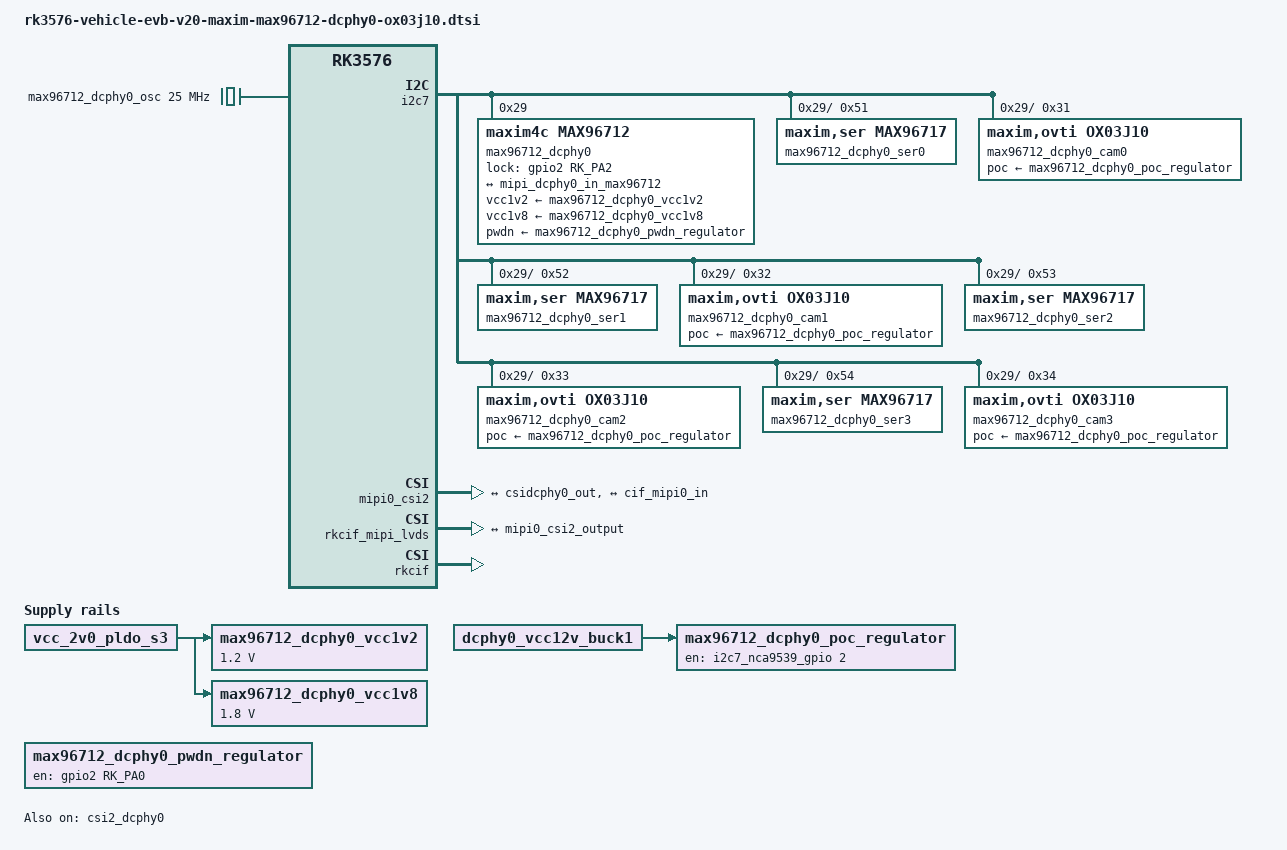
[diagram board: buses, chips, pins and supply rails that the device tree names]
// SPDX-License-Identifier: (GPL-2.0+ OR MIT)
/*
 * Copyright (c) 2025 Rockchip Electronics Co., Ltd.
 *
 */
#include <dt-bindings/display/media-bus-format.h>

/ {
	max96712_dcphy0_osc: max96712-dcphy0-oscillator {
		compatible = "fixed-clock";
		#clock-cells = <1>;
		clock-frequency = <25000000>;
		clock-output-names = "max96712-dcphy0-osc";
	};

	max96712_dcphy0_vcc1v2: max96712-dcphy0-vcc1v2 {
		compatible = "regulator-fixed";
		regulator-name = "max96712_dcphy0_vcc1v2";
		regulator-boot-on;
		regulator-always-on;
		regulator-min-microvolt = <1200000>;
		regulator-max-microvolt = <1200000>;
		startup-delay-us = <850>;
		vin-supply = <&vcc_2v0_pldo_s3>;
	};

	max96712_dcphy0_vcc1v8: max96712-dcphy0-vcc1v8 {
		compatible = "regulator-fixed";
		regulator-name = "max96712_dcphy0_vcc1v8";
		regulator-boot-on;
		regulator-always-on;
		regulator-min-microvolt = <1800000>;
		regulator-max-microvolt = <1800000>;
		startup-delay-us = <200>;
		vin-supply = <&vcc_2v0_pldo_s3>;
	};

	max96712_dcphy0_pwdn_regulator: max96712-dcphy0-pwdn-regulator {
		compatible = "regulator-fixed";
		regulator-name = "max96712_dcphy0_pwdn";
		gpio = <&gpio2 RK_PA0 GPIO_ACTIVE_HIGH>;
		pinctrl-names = "default";
		pinctrl-0 = <&max96712_dcphy0_pwdn>;
		enable-active-high;
		startup-delay-us = <10000>;
		off-on-delay-us = <5000>;
	};

	max96712_dcphy0_poc_regulator: max96712-dcphy0-poc-regulator {
		compatible = "regulator-fixed";
		regulator-name = "max96712_dcphy0_poc";
		gpio = <&i2c7_nca9539_gpio 2 GPIO_ACTIVE_HIGH>;
		enable-active-high;
		startup-delay-us = <10000>;
		off-on-delay-us = <5000>;
		vin-supply = <&dcphy0_vcc12v_buck1>;
	};
};

&csi2_dcphy0 {
	status = "okay";

	ports {
		#address-cells = <1>;
		#size-cells = <0>;
		port@0 {
			reg = <0>;
			#address-cells = <1>;
			#size-cells = <0>;

			mipi_dcphy0_in_max96712: endpoint@1 {
				reg = <1>;
				remote-endpoint = <&max96712_dcphy0_out>;
				data-lanes = <1 2 3 4>;
			};
		};
		port@1 {
			reg = <1>;
			#address-cells = <1>;
			#size-cells = <0>;

			csidcphy0_out: endpoint@0 {
				reg = <0>;
				remote-endpoint = <&mipi0_csi2_input>;
			};
		};
	};
};

&i2c7 {
	max96712_dcphy0: max96712@29 {
		compatible = "maxim4c,max96712";
		status = "okay";
		reg = <0x29>;
		clock-names = "xvclk";
		clocks = <&max96712_dcphy0_osc 0>;
		pinctrl-names = "default";
		pinctrl-0 = <&max96712_dcphy0_errb>, <&max96712_dcphy0_lock>;
		power-domains = <&power RK3576_PD_VI>;
		rockchip,grf = <&sys_grf>;
		vcc1v2-supply = <&max96712_dcphy0_vcc1v2>;
		vcc1v8-supply = <&max96712_dcphy0_vcc1v8>;
		pwdn-supply = <&max96712_dcphy0_pwdn_regulator>;
		lock-gpios = <&gpio2 RK_PA2 GPIO_ACTIVE_HIGH>;

		rockchip,camera-module-index = <0>;
		rockchip,camera-module-facing = "back";
		rockchip,camera-module-name = "default";
		rockchip,camera-module-lens-name = "default";

		port {
			max96712_dcphy0_out: endpoint {
				remote-endpoint = <&mipi_dcphy0_in_max96712>;
				data-lanes = <1 2 3 4>;
			};
		};

		/* support mode config start */
		support-mode-config {
			status = "okay";

			bus-format = <MEDIA_BUS_FMT_YUYV8_2X8>;
			sensor-width = <1920>;
			sensor-height = <1280>;
			max-fps-numerator = <10000>;
			max-fps-denominator = <300000>;
			bpp = <16>;
			link-freq-idx = <20>;
		};
		/* support mode config end */

		/* serdes local device start */
		serdes-local-device {
			status = "okay";

			/* GMSL LINK config start */
			gmsl-links {
				status = "okay";

				link-vdd-ldo1-en = <1>;
				link-vdd-ldo2-en = <1>;

				// Link A: link-id = 0
				gmsl-link-config-0 {
					status = "okay";
					link-id = <0>; // Link ID: 0/1/2/3

					link-type = <1>; // 0: GMSL1, 1: GMSL2
					link-rx-rate = <1>; // 0: 3GBPS, 1: 6GBPS
					link-tx-rate = <0>; // 0: default for 187.5MBPS

					link-remote-cam = <&max96712_dcphy0_cam0>; // remote camera

					link-init-sequence {
						seq-item-size = <5>; // reg-addr-len + reg-val-len * 2 + 1
						reg-addr-len = <2>; // 1: 8bits, 2: 16bits
						reg-val-len = <1>; // 1: 8bits, 2: 16bits, 3: 24bits

						// reg_addr reg_val val_mask delay
						init-sequence = [
							14 D1 03 00 00 // VGAHiGain
							14 45 00 00 00 // Disable SSC
						];
					};
				};

				// Link B: link-id = 1
				gmsl-link-config-1 {
					status = "okay";
					link-id = <1>; // Link ID: 0/1/2/3

					link-type = <1>; // 0: GMSL1, 1: GMSL2
					link-rx-rate = <1>; // 0: 3GBPS, 1: 6GBPS
					link-tx-rate = <0>; // 0: default for 187.5MBPS

					link-remote-cam = <&max96712_dcphy0_cam1>; // remote camera

					link-init-sequence {
						seq-item-size = <5>; // reg-addr-len + reg-val-len * 2 + 1
						reg-addr-len = <2>; // 1: 8bits, 2: 16bits
						reg-val-len = <1>; // 1: 8bits, 2: 16bits, 3: 24bits

						// reg_addr reg_val val_mask delay
						init-sequence = [
							15 D1 03 00 00 // VGAHiGain
							15 45 00 00 00 // Disable SSC
						];
					};
				};

				// Link C: link-id = 2
				gmsl-link-config-2 {
					status = "okay";
					link-id = <2>; // Link ID: 0/1/2/3

					link-type = <1>; // 0: GMSL1, 1: GMSL2
					link-rx-rate = <1>; // 0: 3GBPS, 1: 6GBPS
					link-tx-rate = <0>; // 0: default for 187.5MBPS

					link-remote-cam = <&max96712_dcphy0_cam2>; // remote camera

					link-init-sequence {
						seq-item-size = <5>; // reg-addr-len + reg-val-len * 2 + 1
						reg-addr-len = <2>; // 1: 8bits, 2: 16bits
						reg-val-len = <1>; // 1: 8bits, 2: 16bits, 3: 24bits

						// reg_addr reg_val val_mask delay
						init-sequence = [
							16 D1 03 00 00 // VGAHiGain
							16 45 00 00 00 // Disable SSC
						];
					};
				};

				// Link D: link-id = 3
				gmsl-link-config-3 {
					status = "okay";
					link-id = <3>; // Link ID: 0/1/2/3

					link-type = <1>; // 0: GMSL1, 1: GMSL2
					link-rx-rate = <1>; // 0: 3GBPS, 1: 6GBPS
					link-tx-rate = <0>; // 0: default for 187.5MBPS

					link-remote-cam = <&max96712_dcphy0_cam3>; // remote camera

					link-init-sequence {
						seq-item-size = <5>; // reg-addr-len + reg-val-len * 2 + 1
						reg-addr-len = <2>; // 1: 8bits, 2: 16bits
						reg-val-len = <1>; // 1: 8bits, 2: 16bits, 3: 24bits

						// reg_addr reg_val val_mask delay
						init-sequence = [
							17 D1 03 00 00 // VGAHiGain
							17 45 00 00 00 // Disable SSC
						];
					};
				};
			};
			/* GMSL LINK config end */

			/* VIDEO PIPE config start */
			video-pipes {
				status = "okay";

				// Video Pipe 0
				video-pipe-config-0 {
					status = "okay";
					pipe-id = <0>; // Video Pipe ID: 0/1/2/3/4/5/6/7

					pipe-idx = <2>; // Video Pipe X/Y/Z/U: 0/1/2/3
					link-idx = <0>; // Link A/B/C/D: 0/1/2/3

					pipe-init-sequence {
						seq-item-size = <5>; // reg-addr-len + reg-val-len * 2 + 1
						reg-addr-len = <2>; // 1: 8bits, 2: 16bits
						reg-val-len = <1>; // 1: 8bits, 2: 16bits, 3: 24bits

						// reg_addr reg_val val_mask delay
						init-sequence = [
							// Send YUV422, FS, and FE from Video Pipe 0 to Controller 1
							09 0B 07 00 00 // Enable 0/1/2 SRC/DST Mappings
							09 2D 15 00 00 // SRC/DST 0/1/2 -> CSI2 Controller 1;
							// For the following MSB 2 bits = VC, LSB 6 bits = DT
							09 0D 1e 00 00 // SRC0 VC = 0, DT = YUV422 8bit
							09 0E 1e 00 00 // DST0 VC = 0, DT = YUV422 8bit
							09 0F 00 00 00 // SRC1 VC = 0, DT = Frame Start
							09 10 00 00 00 // DST1 VC = 0, DT = Frame Start
							09 11 01 00 00 // SRC2 VC = 0, DT = Frame End
							09 12 01 00 00 // DST2 VC = 0, DT = Frame End
						];
					};
				};

				// Video Pipe 1
				video-pipe-config-1 {
					status = "okay";
					pipe-id = <1>; // Video Pipe 1: pipe-id = 1

					pipe-idx = <2>; // Video Pipe X/Y/Z/U: 0/1/2/3
					link-idx = <1>; // Link A/B/C/D: 0/1/2/3

					pipe-init-sequence {
						seq-item-size = <5>; // reg-addr-len + reg-val-len * 2 + 1
						reg-addr-len = <2>; // 1: 8bits, 2: 16bits
						reg-val-len = <1>; // 1: 8bits, 2: 16bits, 3: 24bits

						// reg_addr reg_val val_mask delay
						init-sequence = [
							// Send YUV422, FS, and FE from Video Pipe 1 to Controller 1
							09 4B 07 00 00 // Enable 0/1/2 SRC/DST Mappings
							09 6D 15 00 00 // SRC/DST 0/1/2 -> CSI2 Controller 1;
							// For the following MSB 2 bits = VC, LSB 6 bits = DT
							09 4D 1e 00 00 // SRC0 VC = 0, DT = YUV422 8bit
							09 4E 5e 00 00 // DST0 VC = 1, DT = YUV422 8bit
							09 4F 00 00 00 // SRC1 VC = 0, DT = Frame Start
							09 50 40 00 00 // DST1 VC = 1, DT = Frame Start
							09 51 01 00 00 // SRC2 VC = 0, DT = Frame End
							09 52 41 00 00 // DST2 VC = 1, DT = Frame End
						];
					};
				};

				// Video Pipe 2
				video-pipe-config-2 {
					status = "okay";
					pipe-id = <2>; // Video Pipe ID: 0/1/2/3/4/5/6/7

					pipe-idx = <2>; // Video Pipe X/Y/Z/U: 0/1/2/3
					link-idx = <2>; // Link A/B/C/D: 0/1/2/3

					pipe-init-sequence {
						seq-item-size = <5>; // reg-addr-len + reg-val-len * 2 + 1
						reg-addr-len = <2>; // 1: 8bits, 2: 16bits
						reg-val-len = <1>; // 1: 8bits, 2: 16bits, 3: 24bits

						// reg_addr reg_val val_mask delay
						init-sequence = [
							// Send YUV422, FS, and FE from Video Pipe 2 to Controller 1
							09 8B 07 00 00 // Enable 0/1/2 SRC/DST Mappings
							09 AD 15 00 00 // SRC/DST 0/1/2 -> CSI2 Controller 1;
							// For the following MSB 2 bits = VC, LSB 6 bits = DT
							09 8D 1e 00 00 // SRC0 VC = 0, DT = YUV422 8bit
							09 8E 9e 00 00 // DST0 VC = 2, DT = YUV422 8bit
							09 8F 00 00 00 // SRC1 VC = 0, DT = Frame Start
							09 90 80 00 00 // DST1 VC = 2, DT = Frame Start
							09 91 01 00 00 // SRC2 VC = 0, DT = Frame End
							09 92 81 00 00 // DST2 VC = 2, DT = Frame End
						];
					};
				};

				// Video Pipe 3
				video-pipe-config-3 {
					status = "okay";
					pipe-id = <3>; // Video Pipe ID: 0/1/2/3/4/5/6/7

					pipe-idx = <2>; // Video Pipe X/Y/Z/U: 0/1/2/3
					link-idx = <3>; // Link A/B/C/D: 0/1/2/3

					pipe-init-sequence {
						seq-item-size = <5>; // reg-addr-len + reg-val-len * 2 + 1
						reg-addr-len = <2>; // 1: 8bits, 2: 16bits
						reg-val-len = <1>; // 1: 8bits, 2: 16bits, 3: 24bits

						// reg_addr reg_val val_mask delay
						init-sequence = [
							// Send YUV422, FS, and FE from Video Pipe 3 to Controller 1
							09 CB 07 00 00 // Enable 0/1/2 SRC/DST Mappings
							09 ED 15 00 00 // SRC/DST 0/1/2 -> CSI2 Controller 1;
							// For the following MSB 2 bits = VC, LSB 6 bits = DT
							09 CD 1e 00 00 // SRC0 VC = 0, DT = YUV422 8bit
							09 CE de 00 00 // DST0 VC = 3, DT = YUV422 8bit
							09 CF 00 00 00 // SRC1 VC = 0, DT = Frame Start
							09 D0 c0 00 00 // DST1 VC = 3, DT = Frame Start
							09 D1 01 00 00 // SRC2 VC = 0, DT = Frame End
							09 D2 c1 00 00 // DST2 VC = 3, DT = Frame End
						];
					};
				};
			};
			/* VIDEO PIPE config end */

			/* MIPI TXPHY config start */
			mipi-txphys {
				status = "okay";

				phy-mode = <0>; // 0: 4Lanes, 1: 2Lanes
				phy-force-clock-out = <1>; // 1: default for force clock out
				phy-force-clk0-en = <1>; // provide MIPI clock: 0 = PHY1, 1 = PHY0
				phy-force-clk3-en = <0>; // provide MIPI clock: 0 = PHY2, 1 = PHY3

				// MIPI TXPHY A: phy-id = 0
				mipi-txphy-config-0 {
					status = "okay";
					phy-id = <0>; // MIPI TXPHY ID: 0/1/2/3

					phy-type = <0>; // 0: DPHY, 1: CPHY
					auto-deskew = <0x80>;
					data-lane-num = <4>;
					data-lane-map = <0x4>;
					vc-ext-en = <0>;
				};

				// MIPI TXPHY B: phy-id = 1
				mipi-txphy-config-1 {
					status = "okay";
					phy-id = <1>; // MIPI TXPHY ID: 0/1/2/3

					phy-type = <0>; // 0: DPHY, 1: CPHY
					auto-deskew = <0x80>;
					data-lane-num = <4>;
					data-lane-map = <0xe>;
					vc-ext-en = <0>;
				};
			};
			/* MIPI TXPHY config end */

			/* local device extra init sequence */
			extra-init-sequence {
				status = "disabled";

				seq-item-size = <5>; // reg-addr-len + reg-val-len * 2 + 1
				reg-addr-len = <2>; // 1: 8bits, 2: 16bits
				reg-val-len = <1>; // 1: 8bits, 2: 16bits, 3: 24bits

				// reg_addr reg_val val_mask delay
				init-sequence = [
					// common init sequence such as fsync / gpio and so on
				];
			};
		};
		/* serdes local device end */

		/* i2c-mux start */
		i2c-mux {
			#address-cells = <1>;
			#size-cells = <0>;

			i2c@0 {
				#address-cells = <1>;
				#size-cells = <0>;
				reg = <0>;

				// Note: Serializer node defined before camera node
				max96712_dcphy0_ser0: max96717@51 {
					compatible = "maxim,ser,max96717";
					reg = <0x51>;

					ser-i2c-addr-def = <0x40>;

					ser-init-sequence {
						seq-item-size = <5>; // reg-addr-len + reg-val-len * 2 + 1
						reg-addr-len = <2>; // 1: 8bits, 2: 16bits
						reg-val-len = <1>; // 1: 8bits, 2: 16bits, 3: 24bits

						// reg_addr reg_val val_mask delay
						init-sequence = [
							02 BE 00 00 01 // MFP0 GPIO_OUT = 0: MFP0 output is driven to 0
							03 02 10 00 00 // Improve CMU voltage performance to improve link robustness
							14 17 00 00 00 // RLMS17 = 0x00: disable AGC/DFE adaptation
							14 32 7f 00 00 // RLMS32 = 0x7F: change OSN loop mode
							03 F0 59 00 00 // REFGEN_PREDEF_FREQ_ALT = 1: Alternative table, REFGEN_PREDEF_FREQ = 0x1: 24MHz
							00 03 03 00 00 // RCLKSEL = 0x3: Reference PLL output
							00 06 B1 00 01 // RCLKEN = 1: RCLK output is enabled
							02 BF 40 00 00 // MFP0 PULL_UPDN_SEL = 1: Pullup
							02 BE 10 00 01 // MFP0 GPIO_OUT = 1: MFP0 output is driven to 1
						];
					};
				};

				max96712_dcphy0_cam0: ox03j10@31 {
					compatible = "maxim,ovti,ox03j10";
					reg = <0x31>;

					cam-i2c-addr-def = <0x36>;

					cam-remote-ser = <&max96712_dcphy0_ser0>; // remote serializer

					poc-supply = <&max96712_dcphy0_poc_regulator>;

					rockchip,camera-module-index = <0>;
					rockchip,camera-module-facing = "back";
					rockchip,camera-module-name = "default";
					rockchip,camera-module-lens-name = "default";

					/* port config start */
					port {
						max96712_dcphy0_cam0_out: endpoint {
							data-lanes = <1 2 3 4>;
						};
					};
					/* port config end */
				};
			};

			i2c@1 {
				#address-cells = <1>;
				#size-cells = <0>;
				reg = <1>;

				// Note: Serializer node defined before camera node
				max96712_dcphy0_ser1: max96717@52 {
					compatible = "maxim,ser,max96717";
					reg = <0x52>;

					ser-i2c-addr-def = <0x40>;

					ser-init-sequence {
						seq-item-size = <5>; // reg-addr-len + reg-val-len * 2 + 1
						reg-addr-len = <2>; // 1: 8bits, 2: 16bits
						reg-val-len = <1>; // 1: 8bits, 2: 16bits, 3: 24bits

						// reg_addr reg_val val_mask delay
						init-sequence = [
							02 BE 00 00 01 // MFP0 GPIO_OUT = 0: MFP0 output is driven to 0
							03 02 10 00 00 // Improve CMU voltage performance to improve link robustness
							14 17 00 00 00 // RLMS17 = 0x00: disable AGC/DFE adaptation
							14 32 7f 00 00 // RLMS32 = 0x7F: change OSN loop mode
							03 F0 59 00 00 // REFGEN_PREDEF_FREQ_ALT = 1: Alternative table, REFGEN_PREDEF_FREQ = 0x1: 24MHz
							00 03 03 00 00 // RCLKSEL = 0x3: Reference PLL output
							00 06 B1 00 01 // RCLKEN = 1: RCLK output is enabled
							02 BF 40 00 00 // MFP0 PULL_UPDN_SEL = 1: Pullup
							02 BE 10 00 01 // MFP0 GPIO_OUT = 1: MFP0 output is driven to 1
						];
					};
				};

				max96712_dcphy0_cam1: ox03j10@32 {
					compatible = "maxim,ovti,ox03j10";
					reg = <0x32>;

					cam-i2c-addr-def = <0x36>;

					cam-remote-ser = <&max96712_dcphy0_ser1>; // remote serializer

					poc-supply = <&max96712_dcphy0_poc_regulator>;

					rockchip,camera-module-index = <1>;
					rockchip,camera-module-facing = "back";
					rockchip,camera-module-name = "default";
					rockchip,camera-module-lens-name = "default";

					/* port config start */
					port {
						max96712_dcphy0_cam1_out: endpoint {
							data-lanes = <1 2 3 4>;
						};
					};
					/* port config end */
				};
			};

			i2c@2 {
				#address-cells = <1>;
				#size-cells = <0>;
				reg = <2>;

				// Note: Serializer node defined before camera node
				max96712_dcphy0_ser2: max96717@53 {
					compatible = "maxim,ser,max96717";
					reg = <0x53>;

					ser-i2c-addr-def = <0x40>;

					ser-init-sequence {
						seq-item-size = <5>; // reg-addr-len + reg-val-len * 2 + 1
						reg-addr-len = <2>; // 1: 8bits, 2: 16bits
						reg-val-len = <1>; // 1: 8bits, 2: 16bits, 3: 24bits

						// reg_addr reg_val val_mask delay
						init-sequence = [
							02 BE 00 00 01 // MFP0 GPIO_OUT = 0: MFP0 output is driven to 0
							03 02 10 00 00 // Improve CMU voltage performance to improve link robustness
							14 17 00 00 00 // RLMS17 = 0x00: disable AGC/DFE adaptation
							14 32 7f 00 00 // RLMS32 = 0x7F: change OSN loop mode
							03 F0 59 00 00 // REFGEN_PREDEF_FREQ_ALT = 1: Alternative table, REFGEN_PREDEF_FREQ = 0x1: 24MHz
							00 03 03 00 00 // RCLKSEL = 0x3: Reference PLL output
							00 06 B1 00 01 // RCLKEN = 1: RCLK output is enabled
							02 BF 40 00 00 // MFP0 PULL_UPDN_SEL = 1: Pullup
							02 BE 10 00 01 // MFP0 GPIO_OUT = 1: MFP0 output is driven to 1
						];
					};
				};

				max96712_dcphy0_cam2: ox03j10@33 {
					compatible = "maxim,ovti,ox03j10";
					reg = <0x33>;

					cam-i2c-addr-def = <0x36>;

					cam-remote-ser = <&max96712_dcphy0_ser2>; // remote serializer

					poc-supply = <&max96712_dcphy0_poc_regulator>;

					rockchip,camera-module-index = <2>;
					rockchip,camera-module-facing = "back";
					rockchip,camera-module-name = "default";
					rockchip,camera-module-lens-name = "default";

					/* port config start */
					port {
						max96712_dcphy0_cam2_out: endpoint {
							data-lanes = <1 2 3 4>;
						};
					};
					/* port config end */
				};
			};

			i2c@3 {
				#address-cells = <1>;
				#size-cells = <0>;
				reg = <3>;

				// Note: Serializer node defined before camera node
				max96712_dcphy0_ser3: max96717@54 {
					compatible = "maxim,ser,max96717";
					reg = <0x54>;

					ser-i2c-addr-def = <0x40>;

					ser-init-sequence {
						seq-item-size = <5>; // reg-addr-len + reg-val-len * 2 + 1
						reg-addr-len = <2>; // 1: 8bits, 2: 16bits
						reg-val-len = <1>; // 1: 8bits, 2: 16bits, 3: 24bits

						// reg_addr reg_val val_mask delay
						init-sequence = [
							02 BE 00 00 01 // MFP0 GPIO_OUT = 0: MFP0 output is driven to 0
							03 02 10 00 00 // Improve CMU voltage performance to improve link robustness
							14 17 00 00 00 // RLMS17 = 0x00: disable AGC/DFE adaptation
							14 32 7f 00 00 // RLMS32 = 0x7F: change OSN loop mode
							03 F0 59 00 00 // REFGEN_PREDEF_FREQ_ALT = 1: Alternative table, REFGEN_PREDEF_FREQ = 0x1: 24MHz
							00 03 03 00 00 // RCLKSEL = 0x3: Reference PLL output
							00 06 B1 00 01 // RCLKEN = 1: RCLK output is enabled
							02 BF 40 00 00 // MFP0 PULL_UPDN_SEL = 1: Pullup
							02 BE 10 00 01 // MFP0 GPIO_OUT = 1: MFP0 output is driven to 1
						];
					};
				};

				max96712_dcphy0_cam3: ox03j10@34 {
					compatible = "maxim,ovti,ox03j10";
					reg = <0x34>;

					cam-i2c-addr-def = <0x36>;

					cam-remote-ser = <&max96712_dcphy0_ser3>; // remote serializer

					poc-supply = <&max96712_dcphy0_poc_regulator>;

					rockchip,camera-module-index = <3>;
					rockchip,camera-module-facing = "back";
					rockchip,camera-module-name = "default";
					rockchip,camera-module-lens-name = "default";

					/* port config start */
					port {
						max96712_dcphy0_cam3_out: endpoint {
							data-lanes = <1 2 3 4>;
						};
					};
					/* port config end */
				};
			};
		};
		/* i2c-mux end */
	};
};

&mipi0_csi2 {
	status = "okay";

	ports {
		#address-cells = <1>;
		#size-cells = <0>;

		port@0 {
			reg = <0>;
			#address-cells = <1>;
			#size-cells = <0>;

			mipi0_csi2_input: endpoint@1 {
				reg = <1>;
				remote-endpoint = <&csidcphy0_out>;
			};
		};

		port@1 {
			reg = <1>;
			#address-cells = <1>;
			#size-cells = <0>;

			mipi0_csi2_output: endpoint@0 {
				reg = <0>;
				remote-endpoint = <&cif_mipi0_in>;
			};
		};
	};
};

&rkcif_mipi_lvds {
	status = "okay";
	/* parameters for do cif reset detecting:
	 * index0: monitor mode,
		   0 for idle,
		   1 for continue,
		   2 for trigger,
		   3 for hotplug (for nextchip)
	 * index1: the frame id to start timer,
		   min is 2
	 * index2: frame num of monitoring cycle
	 * index3: err time for keep monitoring
		   after finding out err (ms)
	 * index4: csi2 err reference val for resetting
	 */
	rockchip,cif-monitor = <3 2 1 1000 5>;

	port {
		cif_mipi0_in: endpoint {
			remote-endpoint = <&mipi0_csi2_output>;
		};
	};
};

&rkcif {
	status = "okay";
	rockchip,android-usb-camerahal-enable;
};

&rkcif_mmu {
	status = "okay";
};

&pinctrl {
	max96712-dcphy0 {
		max96712_dcphy0_pwdn: max96712-dcphy0-pwdn {
			rockchip,pins = <2 RK_PA0 RK_FUNC_GPIO &pcfg_output_low>;
		};

		max96712_dcphy0_errb: max96712-dcphy0-errb {
			rockchip,pins = <2 RK_PA1 RK_FUNC_GPIO &pcfg_pull_none_smt>;
		};

		max96712_dcphy0_lock: max96712-dcphy0-lock {
			rockchip,pins = <2 RK_PA2 RK_FUNC_GPIO &pcfg_pull_none_smt>;
		};
	};
};
